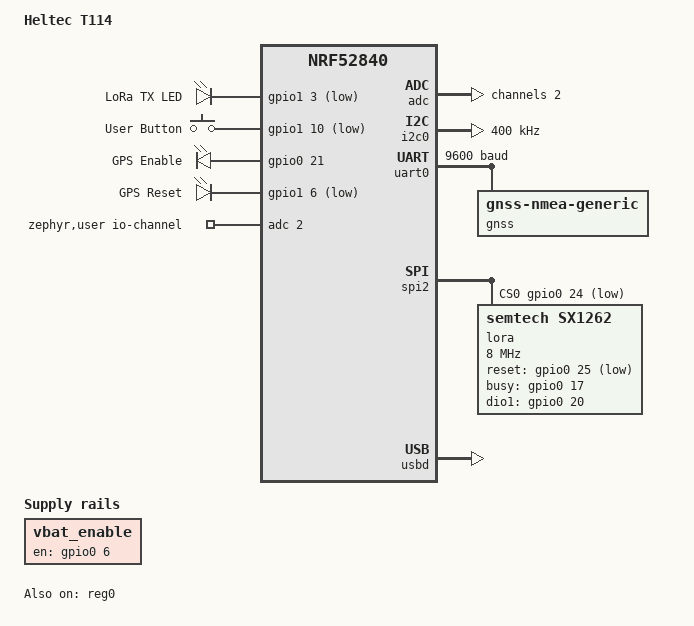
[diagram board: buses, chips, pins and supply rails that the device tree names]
/*
 * Heltec T114 — nRF52840 + SX1262
 * Copyright (c) 2026 ZephCore
 *
 * SPDX-License-Identifier: Apache-2.0
 *
 */

/dts-v1/;
#include <nordic/nrf52840_qiaa.dtsi>
#include <nordic/nrf52840_partition.dtsi>
#include <zephyr/dt-bindings/lora/sx126x.h>
#include <zephyr/dt-bindings/adc/nrf-saadc.h>
#include <zephyr/dt-bindings/input/input-event-codes.h>
#include "heltec_t114_nrf52840-pinctrl.dtsi"

/* Delete default partitions from nrf52840_partition.dtsi */
/delete-node/ &boot_partition;
/delete-node/ &slot0_partition;
/delete-node/ &slot1_partition;
/delete-node/ &storage_partition;

/ {
	model = "Heltec T114";
	compatible = "heltec,t114";

	chosen {
		zephyr,code-partition = &code_partition;
		zephyr,console = &cdc_acm_uart;
		zephyr,shell-uart = &cdc_acm_uart;
	};

	leds {
		compatible = "gpio-leds";

		/* LED_BUILTIN on P1.03, active-LOW (LED_STATE_ON = LOW) */
		tx_led: led_0 {
			gpios = <&gpio1 3 GPIO_ACTIVE_LOW>;
			label = "LoRa TX LED";
		};
	};

	buttons: buttons {
		compatible = "gpio-keys";

		user_button: button_0 {
			gpios = <&gpio1 10 (GPIO_PULL_UP | GPIO_ACTIVE_LOW)>;
			zephyr,code = <INPUT_KEY_0>;
			label = "User Button";
		};
	};

	/* Input filter: user button long-press detection (1000ms) */
	user_btn_longpress {
		compatible = "zephyr,input-longpress";
		input = <&buttons>;
		input-codes = <INPUT_KEY_0>;
		short-codes = <INPUT_KEY_A>;
		long-codes = <INPUT_KEY_POWER>;
		long-delay-ms = <1000>;
	};

	/* Input filter: user button multi-tap detection
	 * 1 tap  (400ms wait) → KEY_1 = page next on OLED
	 * 2 taps (400ms wait) → KEY_B = flood advert
	 * 3 taps (400ms wait) → KEY_D = buzzer mute toggle
	 * 4 taps (400ms wait) → KEY_C = GPS on/off
	 * 5 taps (immediate)  → KEY_E = LED heartbeat toggle */
	user_btn_multitap {
		compatible = "zephcore,input-multi-tap";
		/* No 'input' phandle — listen to ALL devices.
		 * KEY_A is emitted by the longpress pseudo-device,
		 * not by &buttons, so we must not filter by device. */
		input-codes = <INPUT_KEY_A>;
		tap-codes = <INPUT_KEY_1 INPUT_KEY_B INPUT_KEY_D INPUT_KEY_C INPUT_KEY_E>;
		tap-delay-ms = <400>;
	};

	/* GPS power enable — P0.21, HIGH = GPS powered on */
	gps_en: gps-enable {
		compatible = "gpio-leds";
		gps_enable_pin: gps_enable {
			gpios = <&gpio0 21 GPIO_ACTIVE_HIGH>;
			label = "GPS Enable";
		};
	};

	/* GPS hardware reset — P1.06, active-LOW (PIN_GPS_RESET_ACTIVE=LOW) */
	gps_rst: gps-reset {
		compatible = "gpio-leds";
		gps_reset_pin: gps_reset {
			gpios = <&gpio1 6 GPIO_ACTIVE_LOW>;
			label = "GPS Reset";
		};
	};

	/*
	 * Battery ADC enable — P0.06, HIGH = enable divider for measurement.
	 * ZephyrBoard::getBattMilliVolts() calls regulator_{enable,disable}
	 * around each reading to save power.
	 */
	vbat_enable: vbat-enable {
		compatible = "regulator-fixed";
		regulator-name = "vbat-enable";
		enable-gpios = <&gpio0 6 GPIO_ACTIVE_HIGH>;
	};

	zephyr,user {
		io-channels = <&adc 2>;
		/*
		 * Full-scale = 3600 mV (ADC_GAIN_1_6 + ADC_REF_INTERNAL),
		 * voltage divider ratio = 4.9 (ADC_MULTIPLIER from variant.h).
		 * multiplier = 3600 * 4.9 = 17640
		 */
		vbat-mv-multiplier = <17640>;
	};

	aliases {
		led0 = &tx_led;
		lora-tx-led = &tx_led;
		sw0 = &user_button;
		lora0 = &lora;
		watchdog0 = &wdt0;
		gps-enable = &gps_enable_pin;
		gps-reset = &gps_reset_pin;
	};
};

&reg0 {
	status = "okay";
};

/* DC-DC converter (NRF52BoardDCDC) */
&reg1 {
	regulator-initial-mode = <NRF5X_REG_MODE_DCDC>;
};

&adc {
	status = "okay";
	#address-cells = <1>;
	#size-cells = <0>;

	/* Battery voltage on P0.04 (AIN2) — 4.9:1 divider, 3.0V ref in Arduino */
	channel@2 {
		reg = <2>;
		zephyr,gain = "ADC_GAIN_1_6";
		zephyr,reference = "ADC_REF_INTERNAL";
		zephyr,acquisition-time = <ADC_ACQ_TIME(ADC_ACQ_TIME_MICROSECONDS, 10)>;
		zephyr,input-positive = <NRF_SAADC_AIN2>;
		zephyr,resolution = <12>;
	};
};

&gpiote {
	status = "okay";
};

&gpio0 {
	status = "okay";
};

&gpio1 {
	status = "okay";
};

&i2c0 {
	compatible = "nordic,nrf-twim";
	status = "okay";
	clock-frequency = <I2C_BITRATE_FAST>;
	pinctrl-0 = <&i2c0_default>;
	pinctrl-1 = <&i2c0_sleep>;
	pinctrl-names = "default", "sleep";

	#include "../../common/sensors-i2c.dtsi"
};

&uart0 {
	compatible = "nordic,nrf-uarte";
	status = "okay";
	current-speed = <9600>;
	pinctrl-0 = <&uart0_default>;
	pinctrl-1 = <&uart0_sleep>;
	pinctrl-names = "default", "sleep";

	gnss: gnss {
		compatible = "gnss-nmea-generic";
	};
};

&spi2 {
	compatible = "nordic,nrf-spim";
	status = "okay";
	cs-gpios = <&gpio0 24 GPIO_ACTIVE_LOW>;
	pinctrl-0 = <&spi2_default>;
	pinctrl-1 = <&spi2_sleep>;
	pinctrl-names = "default", "sleep";

	lora: lora@0 {
		compatible = "semtech,sx1262";
		reg = <0>;
		reset-gpios = <&gpio0 25 GPIO_ACTIVE_LOW>;
		busy-gpios = <&gpio0 17 GPIO_ACTIVE_HIGH>;
		dio1-gpios = <&gpio0 20 (GPIO_PULL_DOWN | GPIO_ACTIVE_HIGH)>;
		dio2-tx-enable;
		dio3-tcxo-voltage = <SX126X_DIO3_TCXO_1V8>;
		tcxo-power-startup-delay-ms = <5>;
		spi-max-frequency = <8000000>;
		rx-boosted;
	};
};

/*
 * QSPI Flash (MX25R1635F 2MB) — DISABLED.
 */
&qspi {
	status = "disabled";
};

zephyr_udc0: &usbd {
	compatible = "nordic,nrf-usbd";
	status = "okay";

	cdc_acm_uart: cdc_acm_uart {
		compatible = "zephyr,cdc-acm-uart";
	};
};

/* SoftDevice s140 v6.1.1 flash layout (app@0x26000, bootloader@0xF4000) */
#include "../../common/nrf52_partitions_sdv6.dtsi"
#include "../../common/nrf52_wakeup.dtsi"
